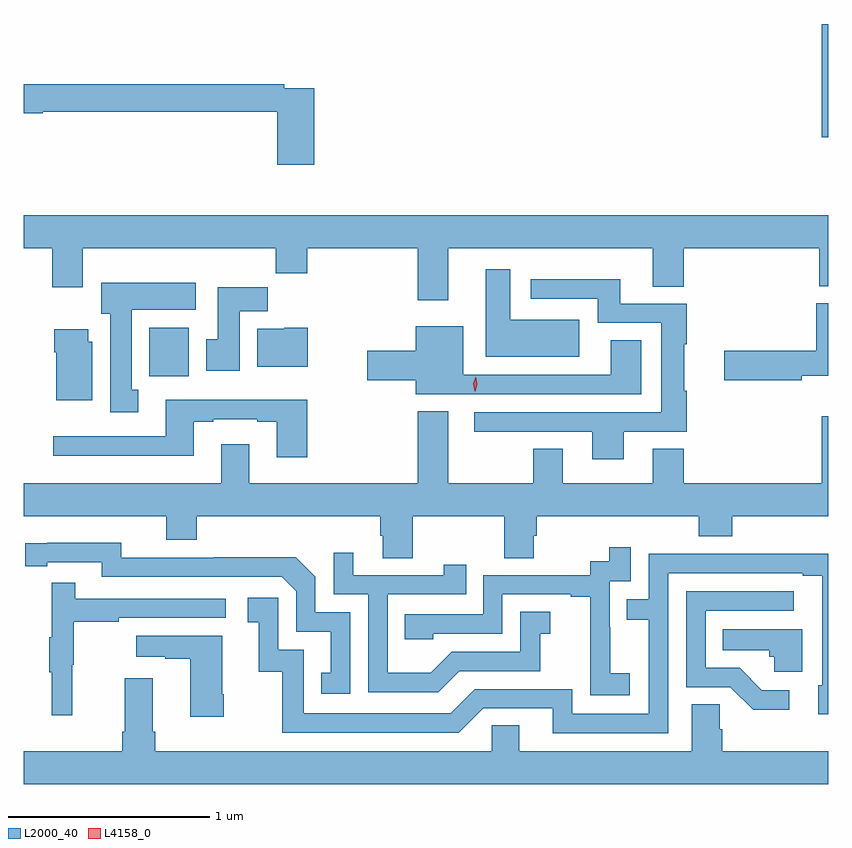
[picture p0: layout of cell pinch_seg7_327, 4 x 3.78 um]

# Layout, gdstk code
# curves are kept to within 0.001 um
import gdstk
lib = gdstk.Library(unit=1e-6, precision=1e-09)
def R(c, l, rs):  # rectangles x0, y0, x1, y1
    for r in rs: c.add(gdstk.rectangle(r[:2], r[2:], *l))
def P(c, l, *ps):  # polygons
    for p in ps: c.add(gdstk.Polygon(p, *l))
L2000_40 = (2000, 40)
L4158_0 = (4158, 0)

pinch_seg7_327 = lib.new_cell('pinch_seg7_327')
R(pinch_seg7_327, L2000_40, [(459.29,1058.588,459.487,1058.83), (462.635,1059.777,462.666,1060.34)])
P(pinch_seg7_327, L2000_40, [(460.109,1060.02),(459.962,1060.02),(459.962,1060.04),(458.666,1060.04),(458.666,1059.896),(458.76,1059.896),(458.76,1059.904),(459.926,1059.904),(459.926,1059.639),(460.109,1059.639)],
  [(460.777,1059.224),(461.795,1059.224),(461.795,1059.034),(461.948,1059.034),(461.948,1059.224),(462.623,1059.224),(462.623,1059.035),(462.666,1059.035),(462.666,1059.388),(458.666,1059.388),(458.666,1059.224),(458.807,1059.224),(458.807,1059.03),(458.959,1059.03),(458.959,1059.224),(459.919,1059.224),(459.919,1059.1),(460.076,1059.1),(460.076,1059.224),(460.625,1059.224),(460.625,1058.967),(460.777,1058.967)],
  [(461.428,1058.869),(461.086,1058.869),(461.086,1059.121),(460.964,1059.121),(460.964,1058.684),(461.428,1058.684)],
  [(461.65,1058.313),(461.963,1058.313),(461.963,1058.516),(461.95,1058.516),(461.95,1058.746),(461.963,1058.746),(461.963,1058.949),(461.632,1058.949),(461.632,1059.07),(461.187,1059.07),(461.187,1058.973),(461.519,1058.973),(461.519,1058.853),(461.837,1058.853),(461.837,1058.409),(460.905,1058.409),(460.905,1058.313),(461.492,1058.313),(461.492,1058.174),(461.65,1058.174)],
  [(459.235,1058.522),(459.202,1058.522),(459.202,1058.918),(459.52,1058.918),(459.52,1059.052),(459.05,1059.052),(459.05,1058.898),(459.095,1058.898),(459.095,1058.409),(459.235,1058.409)],
  [(459.739,1058.912),(459.878,1058.912),(459.878,1059.031),(459.629,1059.031),(459.629,1058.772),(459.572,1058.772),(459.572,1058.616),(459.739,1058.616)],
  [(462.534,1058.591),(462.666,1058.591),(462.666,1058.95),(462.608,1058.95),(462.608,1058.714),(462.15,1058.714),(462.15,1058.567),(462.534,1058.567)],
  [(461.737,1058.767),(461.585,1058.767),(461.585,1058.595),(460.852,1058.595),(460.852,1058.836),(460.616,1058.836),(460.616,1058.714),(460.374,1058.714),(460.374,1058.567),(460.616,1058.567),(460.616,1058.499),(461.737,1058.499)],
  [(460.078,1058.83),(459.96,1058.83),(459.96,1058.824),(459.827,1058.824),(459.827,1058.636),(460.078,1058.636)],
  [(459.007,1058.76),(458.986,1058.76),(458.986,1058.821),(458.816,1058.821),(458.816,1058.708),(458.828,1058.708),(458.828,1058.468),(459.007,1058.468)],
  [(460.076,1058.47),(459.371,1058.47),(459.371,1058.289),(458.811,1058.289),(458.811,1058.192),(459.511,1058.192),(459.511,1058.361),(459.607,1058.361),(459.607,1058.373),(459.827,1058.373),(459.827,1058.361),(459.923,1058.361),(459.923,1058.184),(460.076,1058.184)],
  [(460.599,1057.892),(461.056,1057.892),(461.056,1057.684),(461.203,1057.684),(461.203,1057.794),(461.216,1057.794),(461.216,1057.892),(462.023,1057.892),(462.023,1057.793),(462.188,1057.793),(462.188,1057.892),(462.666,1057.892),(462.666,1058.389),(462.634,1058.389),(462.634,1058.056),(461.948,1058.056),(461.948,1058.228),(461.795,1058.228),(461.795,1058.056),(461.347,1058.056),(461.347,1058.228),(461.2,1058.228),(461.2,1058.056),(460.777,1058.056),(460.777,1058.413),(460.625,1058.413),(460.625,1058.056),(459.787,1058.056),(459.787,1058.251),(459.647,1058.251),(459.647,1058.056),(458.666,1058.056),(458.666,1057.892),(459.374,1057.892),(459.374,1057.775),(459.527,1057.775),(459.527,1057.892),(460.439,1057.892),(460.439,1057.794),(460.451,1057.794),(460.451,1057.684),(460.599,1057.684)],
  [(460.29,1057.413),(460.116,1057.413),(460.116,1057.59),(460.018,1057.688),(459.61,1057.688),(459.61,1057.686),(459.15,1057.686),(459.15,1057.759),(458.674,1057.758),(458.674,1057.642),(458.782,1057.642),(458.782,1057.662),(459.054,1057.662),(459.054,1057.59),(459.948,1057.59),(460.02,1057.518),(460.02,1057.317),(460.193,1057.317),(460.193,1057.113),(460.144,1057.113),(460.144,1057.008),(460.29,1057.008)],
  [(461.68,1057.111),(461.582,1057.111),(461.582,1057.34),(461.58,1057.34),(461.58,1057.569),(461.685,1057.569),(461.685,1057.738),(461.577,1057.738),(461.577,1057.668),(461.484,1057.668),(461.484,1057.599),(460.95,1057.599),(460.95,1057.404),(460.561,1057.404),(460.561,1057.281),(460.701,1057.281),(460.701,1057.308),(461.046,1057.308),(461.046,1057.503),(461.387,1057.503),(461.387,1057.491),(461.483,1057.491),(461.483,1057.207),(461.482,1057.207),(461.482,1057.001),(461.68,1057.001)],
  [(460.831,1057.122),(461.235,1057.122),(461.235,1057.307),(461.284,1057.307),(461.284,1057.417),(461.136,1057.417),(461.136,1057.218),(460.794,1057.218),(460.69,1057.114),(460.476,1057.114),(460.476,1057.503),(460.865,1057.503),(460.865,1057.651),(460.754,1057.651),(460.754,1057.599),(460.303,1057.599),(460.303,1057.711),(460.206,1057.711),(460.206,1057.503),(460.38,1057.503),(460.38,1057.017),(460.726,1057.017)],
  [(461.871,1057.608),(462.539,1057.608),(462.539,1057.596),(462.636,1057.596),(462.636,1057.05),(462.617,1057.05),(462.617,1056.906),(462.666,1056.906),(462.666,1057.706),(462.271,1057.706),(462.271,1057.704),(461.775,1057.704),(461.775,1057.479),(461.665,1057.479),(461.665,1057.378),(461.775,1057.378),(461.775,1056.909),(461.394,1056.909),(461.394,1057.032),(460.908,1057.032),(460.788,1056.912),(460.059,1056.912),(460.059,1057.227),(459.93,1057.227),(459.93,1057.486),(459.78,1057.486),(459.78,1057.365),(459.833,1057.365),(459.833,1057.119),(459.951,1057.119),(459.951,1056.816),(460.83,1056.816),(460.95,1056.936),(461.297,1056.936),(461.297,1056.813),(461.871,1056.813)],
  [(458.906,1057.152),(458.914,1057.152),(458.914,1057.366),(459.137,1057.366),(459.137,1057.386),(459.67,1057.386),(459.67,1057.482),(458.921,1057.482),(458.921,1057.561),(458.804,1057.561),(458.804,1057.289),(458.793,1057.289),(458.793,1057.115),(458.804,1057.115),(458.804,1056.903),(458.906,1056.903)],
  [(462.472,1057.026),(462.337,1057.026),(462.226,1057.137),(462.057,1057.137),(462.057,1057.422),(462.496,1057.422),(462.496,1057.518),(461.961,1057.518),(461.961,1057.041),(462.18,1057.041),(462.293,1056.929),(462.472,1056.929)],
  [(462.538,1057.33),(462.142,1057.33),(462.142,1057.226),(462.373,1057.226),(462.373,1057.194),(462.399,1057.194),(462.399,1057.118),(462.538,1057.118)],
  [(459.66,1057.006),(459.652,1057.006),(459.652,1057.297),(459.225,1057.297),(459.225,1057.193),(459.368,1057.193),(459.368,1057.183),(459.494,1057.183),(459.494,1056.894),(459.66,1056.894)],
  [(462.666,1056.724),(462.14,1056.724),(462.14,1056.833),(462.126,1056.833),(462.126,1056.956),(461.987,1056.956),(461.987,1056.724),(461.131,1056.724),(461.131,1056.851),(460.992,1056.851),(460.992,1056.724),(459.32,1056.724),(459.32,1056.82),(459.307,1056.82),(459.307,1057.087),(459.167,1057.087),(459.167,1056.82),(459.155,1056.82),(459.155,1056.724),(458.666,1056.724),(458.666,1056.56),(462.666,1056.56)])
P(pinch_seg7_327, L4158_0, [(460.909,1058.513),(460.909,1058.514),(460.901,1058.55),(460.913,1058.585),(460.913,1058.586),(460.913,1058.585),(460.921,1058.549),(460.91,1058.514)])

lib.write_gds('pinch_seg7_327.gds')
